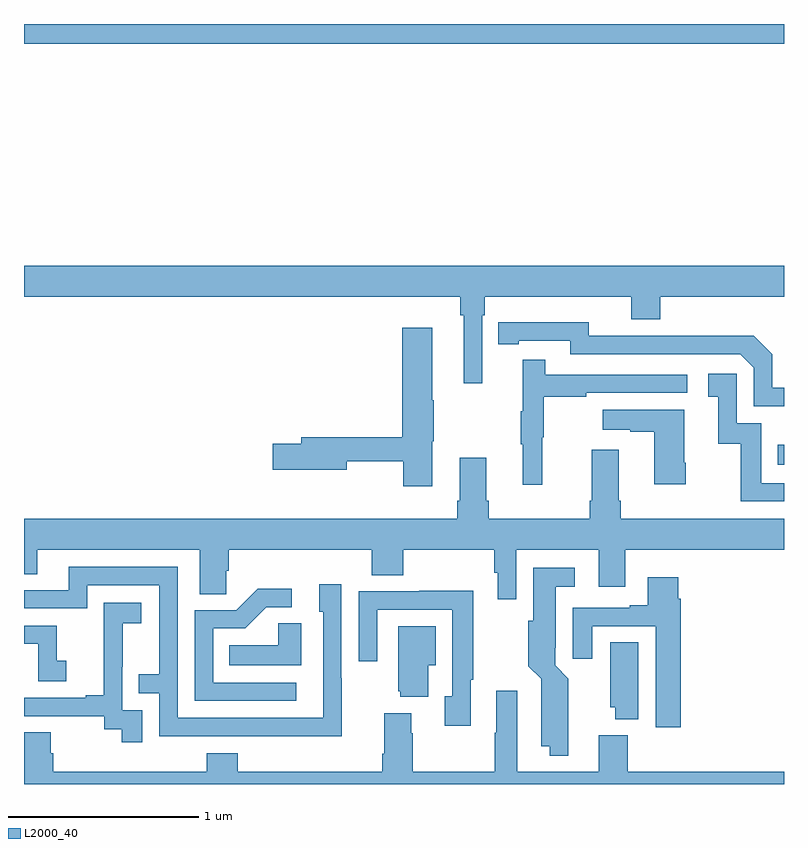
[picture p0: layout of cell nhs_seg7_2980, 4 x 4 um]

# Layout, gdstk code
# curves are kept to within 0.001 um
import gdstk
lib = gdstk.Library(unit=1e-6, precision=1e-09)
def R(c, l, rs):  # rectangles x0, y0, x1, y1
    for r in rs: c.add(gdstk.rectangle(r[:2], r[2:], *l))
def P(c, l, *ps):  # polygons
    for p in ps: c.add(gdstk.Polygon(p, *l))
L2000_40 = (2000, 40)

nhs_seg7_2980 = lib.new_cell('nhs_seg7_2980')
R(nhs_seg7_2980, L2000_40, [(304.966,1051.68,305,1051.785), (301,1053.896,305,1054)])
P(nhs_seg7_2980, L2000_40, [(301,1052.564),(303.295,1052.564),(303.295,1052.468),(303.314,1052.468),(303.314,1052.109),(303.411,1052.109),(303.411,1052.468),(303.425,1052.468),(303.425,1052.564),(304.196,1052.564),(304.196,1052.447),(304.349,1052.447),(304.349,1052.564),(305,1052.564),(305,1052.728),(301,1052.728)],
  [(305,1052.085),(304.938,1052.085),(304.938,1052.262),(304.84,1052.36),(304.432,1052.36),(304.432,1052.358),(303.972,1052.358),(303.972,1052.431),(303.496,1052.43),(303.496,1052.314),(303.604,1052.314),(303.604,1052.334),(303.876,1052.334),(303.876,1052.262),(304.77,1052.262),(304.842,1052.19),(304.842,1051.989),(305,1051.989)],
  [(303.148,1051.803),(303.156,1051.803),(303.156,1052.021),(303.148,1052.021),(303.148,1052.401),(302.99,1052.401),(302.99,1051.826),(302.459,1051.826),(302.459,1051.79),(302.31,1051.79),(302.31,1051.655),(302.698,1051.655),(302.698,1051.698),(302.995,1051.698),(302.995,1051.566),(303.148,1051.566)],
  [(303.728,1051.824),(303.736,1051.824),(303.736,1052.038),(303.959,1052.038),(303.959,1052.058),(304.492,1052.058),(304.492,1052.154),(303.743,1052.154),(303.743,1052.233),(303.626,1052.233),(303.626,1051.961),(303.615,1051.961),(303.615,1051.787),(303.626,1051.787),(303.626,1051.575),(303.728,1051.575)],
  [(305,1051.584),(304.881,1051.584),(304.881,1051.899),(304.752,1051.899),(304.752,1052.158),(304.602,1052.158),(304.602,1052.037),(304.655,1052.037),(304.655,1051.791),(304.773,1051.791),(304.773,1051.488),(305,1051.488)],
  [(304.482,1051.69),(304.474,1051.69),(304.474,1051.969),(304.047,1051.969),(304.047,1051.865),(304.19,1051.865),(304.19,1051.855),(304.316,1051.855),(304.316,1051.578),(304.482,1051.578)],
  [(303.591,1051.232),(304.025,1051.232),(304.025,1051.038),(304.165,1051.038),(304.165,1051.232),(305,1051.232),(305,1051.396),(304.142,1051.396),(304.142,1051.492),(304.129,1051.492),(304.129,1051.759),(303.989,1051.759),(303.989,1051.492),(303.977,1051.492),(303.977,1051.396),(303.446,1051.396),(303.446,1051.492),(303.433,1051.492),(303.433,1051.717),(303.293,1051.717),(303.293,1051.492),(303.281,1051.492),(303.281,1051.396),(301,1051.396),(301,1051.105),(301.069,1051.105),(301.069,1051.232),(301.925,1051.232),(301.925,1051),(302.064,1051),(302.064,1051.123),(302.078,1051.123),(302.078,1051.232),(302.831,1051.232),(302.831,1051.099),(302.996,1051.099),(302.996,1051.232),(303.475,1051.232),(303.475,1051.111),(303.494,1051.111),(303.494,1050.972),(303.591,1050.972)],
  [(302.673,1050.557),(302.67,1050.557),(302.67,1051.051),(302.555,1051.051),(302.555,1050.906),(302.574,1050.906),(302.574,1050.348),(301.809,1050.348),(301.809,1051.143),(301.235,1051.143),(301.235,1051.02),(301,1051.02),(301,1050.924),(301.332,1050.924),(301.332,1051.047),(301.713,1051.047),(301.713,1050.578),(301.603,1050.578),(301.603,1050.477),(301.713,1050.477),(301.713,1050.252),(302.209,1050.252),(302.209,1050.251),(302.673,1050.251)],
  [(303.864,1050.452),(303.865,1050.554),(303.795,1050.624),(303.795,1050.718),(303.799,1050.718),(303.799,1051.037),(303.898,1051.037),(303.898,1051.138),(303.68,1051.138),(303.68,1050.858),(303.655,1050.858),(303.655,1050.621),(303.722,1050.554),(303.722,1050.2),(303.767,1050.2),(303.767,1050.149),(303.864,1050.149)],
  [(304.457,1050.974),(304.444,1050.974),(304.444,1051.087),(304.283,1051.087),(304.283,1050.94),(304.187,1050.94),(304.187,1050.927),(303.887,1050.927),(303.887,1050.66),(303.991,1050.66),(303.991,1050.831),(304.325,1050.831),(304.325,1050.3),(304.457,1050.3)],
  [(302.434,1050.534),(301.995,1050.534),(301.995,1050.819),(302.164,1050.819),(302.275,1050.93),(302.41,1050.93),(302.41,1051.028),(302.231,1051.028),(302.118,1050.915),(301.899,1050.915),(301.899,1050.438),(302.434,1050.438)],
  [(303.352,1050.55),(303.364,1050.55),(303.364,1051.016),(303.079,1051.016),(303.079,1051.014),(302.763,1051.014),(302.763,1050.645),(302.859,1050.645),(302.859,1050.918),(303.255,1050.918),(303.255,1050.462),(303.215,1050.462),(303.215,1050.306),(303.352,1050.306)],
  [(301.623,1050.387),(301.518,1050.387),(301.518,1050.617),(301.52,1050.617),(301.52,1050.845),(301.618,1050.845),(301.618,1050.955),(301.42,1050.955),(301.42,1050.749),(301.421,1050.749),(301.421,1050.466),(301.325,1050.466),(301.325,1050.453),(301,1050.453),(301,1050.357),(301.422,1050.357),(301.422,1050.289),(301.515,1050.289),(301.515,1050.219),(301.623,1050.219)],
  [(302.458,1050.845),(302.337,1050.845),(302.337,1050.73),(302.08,1050.73),(302.08,1050.626),(302.458,1050.626)],
  [(301.222,1050.649),(301.173,1050.649),(301.173,1050.834),(301,1050.834),(301,1050.738),(301.074,1050.738),(301.074,1050.54),(301.222,1050.54)],
  [(303.127,1050.626),(303.166,1050.626),(303.166,1050.829),(302.969,1050.829),(302.969,1050.489),(302.981,1050.489),(302.981,1050.458),(303.127,1050.458)],
  [(304.234,1050.746),(304.085,1050.746),(304.085,1050.405),(304.112,1050.405),(304.112,1050.341),(304.234,1050.341)],
  [(303.485,1050.49),(303.485,1050.269),(303.478,1050.269),(303.478,1050.064),(303.045,1050.064),(303.045,1050.266),(303.037,1050.266),(303.037,1050.373),(302.897,1050.373),(302.897,1050.16),(302.885,1050.16),(302.885,1050.064),(302.126,1050.064),(302.126,1050.163),(301.961,1050.163),(301.961,1050.064),(301.154,1050.064),(301.154,1050.162),(301.141,1050.162),(301.141,1050.272),(301,1050.272),(301,1050),(305,1050),(305,1050.064),(304.178,1050.064),(304.178,1050.256),(304.025,1050.256),(304.025,1050.064),(303.595,1050.064),(303.595,1050.49)])

lib.write_gds('nhs_seg7_2980.gds')
